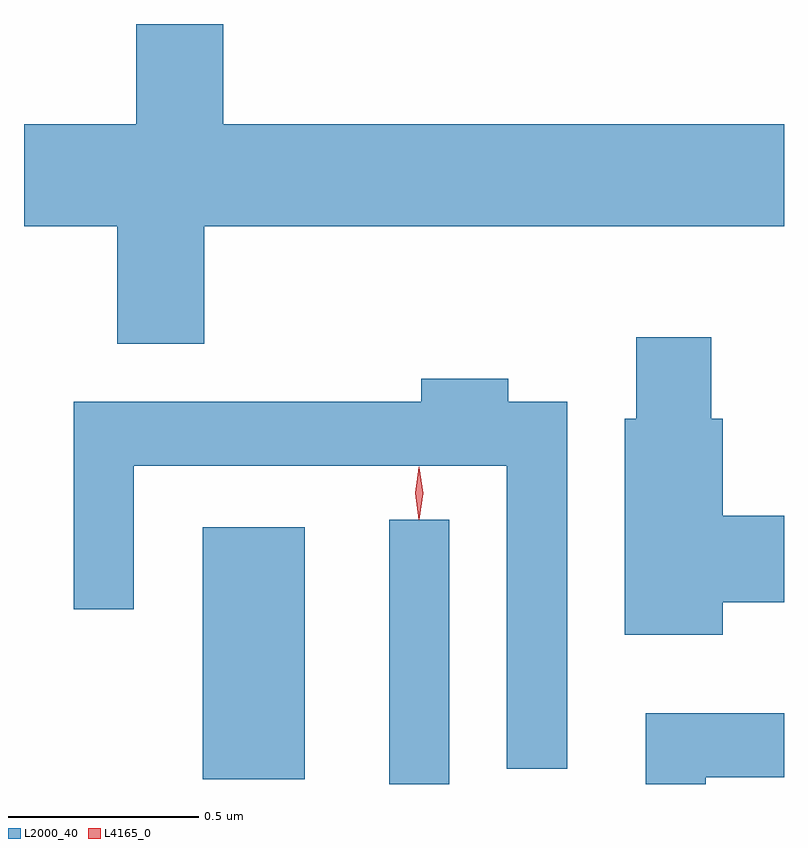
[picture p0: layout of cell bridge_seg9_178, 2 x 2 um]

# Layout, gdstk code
import gdstk
lib = gdstk.Library(unit=1e-6, precision=1e-09)
def R(c, l, rs):  # rectangles x0, y0, x1, y1
    for r in rs: c.add(gdstk.rectangle(r[:2], r[2:], *l))
def P(c, l, *ps):  # polygons
    for p in ps: c.add(gdstk.Polygon(p, *l))
L2000_40 = (2000, 40)
L4165_0 = (4165, 0)

bridge_seg9_178 = lib.new_cell('bridge_seg9_178')
R(bridge_seg9_178, L2000_40, [(1441.196,2070.268,1441.354,2070.963), (1440.706,2070.281,1440.974,2070.944)])
P(bridge_seg9_178, L2000_40, [(1440.709,2071.736),(1442.235,2071.736),(1442.235,2072.004),(1440.759,2072.004),(1440.759,2072.268),(1440.531,2072.268),(1440.531,2072.004),(1440.235,2072.004),(1440.235,2071.736),(1440.481,2071.736),(1440.481,2071.426),(1440.709,2071.426)],
  [(1442.074,2070.746),(1442.235,2070.746),(1442.235,2070.974),(1442.074,2070.974),(1442.074,2071.229),(1442.044,2071.229),(1442.044,2071.444),(1441.846,2071.444),(1441.846,2071.229),(1441.816,2071.229),(1441.816,2070.661),(1442.074,2070.661)],
  [(1441.664,2071.274),(1441.509,2071.274),(1441.509,2071.334),(1441.281,2071.334),(1441.281,2071.274),(1440.366,2071.274),(1440.366,2070.728),(1440.524,2070.728),(1440.524,2071.106),(1441.506,2071.106),(1441.506,2070.308),(1441.664,2070.308)],
  [(1442.029,2070.286),(1442.235,2070.286),(1442.235,2070.454),(1441.871,2070.454),(1441.871,2070.268),(1442.029,2070.268)])
P(bridge_seg9_178, L4165_0, [(1441.274,2070.964),(1441.265,2071.033),(1441.274,2071.102),(1441.275,2071.103),(1441.275,2071.102),(1441.285,2071.033),(1441.275,2070.964),(1441.275,2070.964)],
  [(1441.275,2070.967),(1441.274,2070.968),(1441.265,2071.034),(1441.274,2071.1),(1441.274,2071.1),(1441.275,2071.1),(1441.284,2071.034),(1441.275,2070.968)])

lib.write_gds('bridge_seg9_178.gds')
